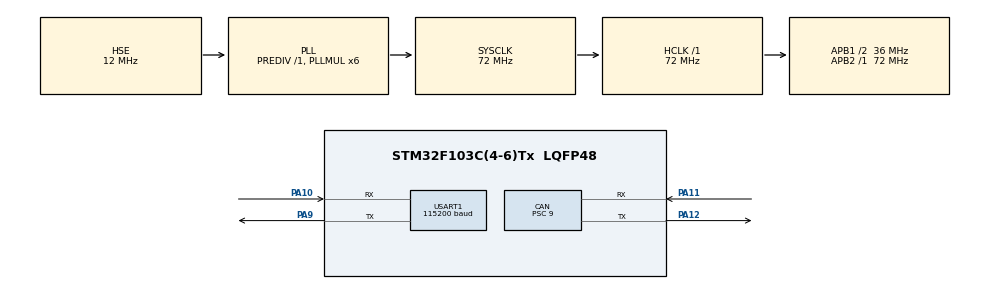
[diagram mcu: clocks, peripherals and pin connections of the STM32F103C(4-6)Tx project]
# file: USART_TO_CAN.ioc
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CAN.BS1=CAN_BS1_2TQ
CAN.BS2=CAN_BS2_1TQ
CAN.CalculateBaudRate=1000000
CAN.CalculateTimeBit=1000
CAN.CalculateTimeQuantum=250.0
CAN.Prescaler=9
Dma.Request0=USART1_RX
Dma.Request1=USART1_TX
Dma.USART1_RX.0.Direction=DMA_PERIPH_TO_MEMORY
Dma.USART1_RX.0.Instance=DMA1_Channel5
Dma.USART1_RX.0.MemDataAlignment=DMA_MDATAALIGN_BYTE
Dma.USART1_RX.0.MemInc=DMA_MINC_ENABLE
Dma.USART1_RX.0.Mode=DMA_NORMAL
Dma.USART1_RX.0.PeriphDataAlignment=DMA_PDATAALIGN_BYTE
Dma.USART1_RX.0.PeriphInc=DMA_PINC_DISABLE
Dma.USART1_RX.0.Priority=DMA_PRIORITY_MEDIUM
Dma.USART1_TX.1.Direction=DMA_MEMORY_TO_PERIPH
Dma.USART1_TX.1.Instance=DMA1_Channel4
Dma.USART1_TX.1.MemDataAlignment=DMA_MDATAALIGN_BYTE
Dma.USART1_TX.1.MemInc=DMA_MINC_ENABLE
Dma.USART1_TX.1.Mode=DMA_NORMAL
Dma.USART1_TX.1.PeriphDataAlignment=DMA_PDATAALIGN_BYTE
Dma.USART1_TX.1.PeriphInc=DMA_PINC_DISABLE
Dma.USART1_TX.1.Priority=DMA_PRIORITY_MEDIUM
Mcu.Family=STM32F1
Mcu.Name=STM32F103C(4-6)Tx
Mcu.Package=LQFP48
NVIC.CAN1_RX1_IRQn=true\:0\:0\:false\:false\:true\:true\:true\:true
NVIC.DMA1_Channel4_IRQn=true\:0\:0\:false\:false\:true\:false\:true\:true
NVIC.DMA1_Channel5_IRQn=true\:0\:0\:false\:false\:true\:false\:true\:true
NVIC.PriorityGroup=NVIC_PRIORITYGROUP_4
NVIC.TIM1_UP_IRQn=true\:0\:0\:false\:false\:true\:true\:true\:true
NVIC.USART1_IRQn=true\:0\:0\:false\:false\:true\:true\:true\:true
PA10.Mode=Asynchronous
PA10.Signal=USART1_RX
PA11.Mode=CAN_Activate
PA11.Signal=CAN_RX
PA12.Mode=CAN_Activate
PA12.Signal=CAN_TX
PA13.Mode=Serial_Wire
PA13.Signal=SYS_JTMS-SWDIO
PA14.Mode=Serial_Wire
PA14.Signal=SYS_JTCK-SWCLK
PA9.Mode=Asynchronous
PA9.Signal=USART1_TX
PD0-OSC_IN.Mode=HSE-External-Oscillator
PD0-OSC_IN.Signal=RCC_OSC_IN
PD1-OSC_OUT.Mode=HSE-External-Oscillator
PD1-OSC_OUT.Signal=RCC_OSC_OUT
ProjectManager.HeapSize=0x200
ProjectManager.StackSize=0x400
ProjectManager.TargetToolchain=MDK-ARM V5.32
RCC.AHBFreq_Value=72000000
RCC.APB1CLKDivider=RCC_HCLK_DIV2
RCC.APB1Freq_Value=36000000
RCC.APB1TimFreq_Value=72000000
RCC.APB2Freq_Value=72000000
RCC.APB2TimFreq_Value=72000000
RCC.HCLKFreq_Value=72000000
RCC.HSE_VALUE=12000000
RCC.PLLMUL=RCC_PLL_MUL6
RCC.PLLSourceVirtual=RCC_PLLSOURCE_HSE
RCC.SYSCLKFreq_VALUE=72000000
RCC.SYSCLKSource=RCC_SYSCLKSOURCE_PLLCLK
RCC.USBFreq_Value=72000000
TIM1.Period=19999
TIM1.Prescaler=71
USART1.BaudRate=115200
USART1.VirtualMode=VM_ASYNC
VP_TIM1_VS_ClockSourceINT.Mode=Internal
board=custom

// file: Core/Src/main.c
/* USER CODE BEGIN Header */
/**
  ******************************************************************************
  * @file           : main.c
  * @brief          : Main program body
  ******************************************************************************
  * @attention
  *
  * Copyright (c) 2022 STMicroelectronics.
  * All rights reserved.
  *
  * This software is licensed under terms that can be found in the LICENSE file
  * in the root directory of this software component.
  * If no LICENSE file comes with this software, it is provided AS-IS.
  *
  ******************************************************************************
  */
/* USER CODE END Header */
#include "main.h"
#include "can.h"
#include "dma.h"
#include "tim.h"
#include "usart.h"
#include "gpio.h"

/* USER CODE BEGIN Includes */
#include "bsp_can.h"
#include "bsp_Referee.h"
#include "Referee_Behaviour.h"
#include "stdio.h"
#include "string.h"
#include "Referee_CAN.h"
/* USER CODE END Includes */

/* USER CODE BEGIN PV */
uint8_t Data[8] = {0,1,2,3,4,5,6,7};
int Current =5000;
/* USER CODE END PV */

void SystemClock_Config(void);

int main(void)
{

  /* MCU Configuration--------------------------------------------------------*/

  /* Reset of all peripherals, Initializes the Flash interface and the Systick. */
  HAL_Init();

  /* Configure the system clock */
  SystemClock_Config();

  /* Initialize all configured peripherals */
  MX_GPIO_Init();
  MX_DMA_Init();
  MX_CAN_Init();
  MX_TIM1_Init();
  MX_USART1_UART_Init();
  /* USER CODE BEGIN 2 */
  Can_Filter_Init();
  HAL_TIM_Base_Start_IT(&htim1);
  usart1_init(Referee_Buffer[Buffer_Choose],Referee_Buffer_Length);
  /* USER CODE END 2 */

  /* Infinite loop */
  while (1)
  {

    /* USER CODE BEGIN 3 */
//	USART_Data_Slove();
//	Referee_Send_Data();
//
	Data[0] ++;
	Data[1] ++;
	Data[2] ++;
    Data[3] ++;
    Data[4] ++;
	Data[5] ++;
	Data[6] ++;
	Data[7] ++;
	Can_Send_Data(&hcan,0x1FF,8,Data);

	HAL_Delay(10);
  }
  /* USER CODE END 3 */
}

void SystemClock_Config(void)
{
  RCC_OscInitTypeDef RCC_OscInitStruct = {0};
  RCC_ClkInitTypeDef RCC_ClkInitStruct = {0};

  /** Initializes the RCC Oscillators according to the specified parameters
  * in the RCC_OscInitTypeDef structure.
  */
  RCC_OscInitStruct.OscillatorType = RCC_OSCILLATORTYPE_HSE;
  RCC_OscInitStruct.HSEState = RCC_HSE_ON;
  RCC_OscInitStruct.HSEPredivValue = RCC_HSE_PREDIV_DIV1;
  RCC_OscInitStruct.HSIState = RCC_HSI_ON;
  RCC_OscInitStruct.PLL.PLLState = RCC_PLL_ON;
  RCC_OscInitStruct.PLL.PLLSource = RCC_PLLSOURCE_HSE;
  RCC_OscInitStruct.PLL.PLLMUL = RCC_PLL_MUL6;
  if (HAL_RCC_OscConfig(&RCC_OscInitStruct) != HAL_OK)
  {
    Error_Handler();
  }

  /** Initializes the CPU, AHB and APB buses clocks
  */
  RCC_ClkInitStruct.ClockType = RCC_CLOCKTYPE_HCLK|RCC_CLOCKTYPE_SYSCLK
                              |RCC_CLOCKTYPE_PCLK1|RCC_CLOCKTYPE_PCLK2;
  RCC_ClkInitStruct.SYSCLKSource = RCC_SYSCLKSOURCE_PLLCLK;
  RCC_ClkInitStruct.AHBCLKDivider = RCC_SYSCLK_DIV1;
  RCC_ClkInitStruct.APB1CLKDivider = RCC_HCLK_DIV2;
  RCC_ClkInitStruct.APB2CLKDivider = RCC_HCLK_DIV1;

  if (HAL_RCC_ClockConfig(&RCC_ClkInitStruct, FLASH_LATENCY_2) != HAL_OK)
  {
    Error_Handler();
  }
}

void Error_Handler(void)
{
  __disable_irq();
  while (1)
  {
  }
}
